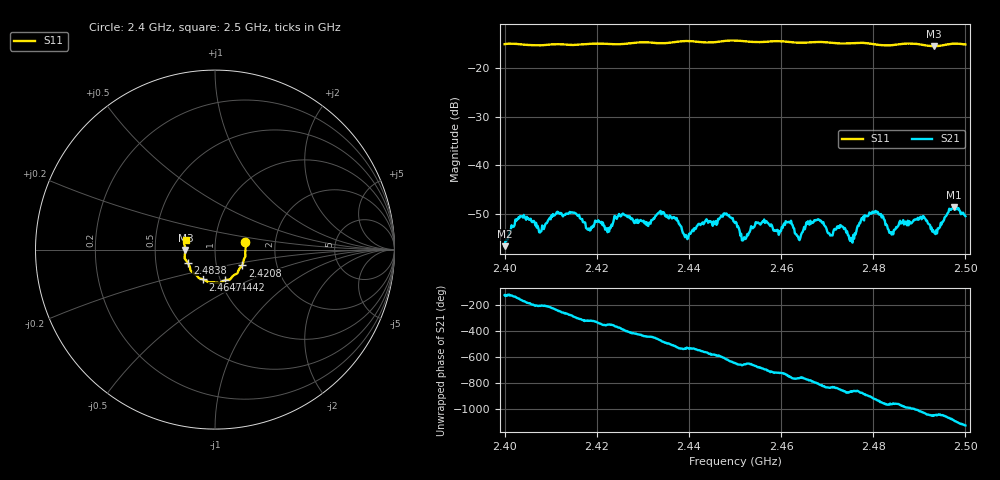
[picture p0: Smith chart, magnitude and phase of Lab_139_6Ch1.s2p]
# Hz S RI R 50
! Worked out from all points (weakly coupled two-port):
!   601 points, 2.4 GHz to 2.5 GHz, reference 50 ohm
!   highest |S21| = -48.49 dB at 2.4975 GHz (marker M1); lowest = -56.5 dB at 2.4 GHz (marker M2)
!   lowest |S11| = -15.6 dB at 2.4932 GHz (marker M3), VSWR 1.40, Z = 35.8 - j0.0975 ohm
!   |S11| at or under -10 dB: start of sweep to end of sweep
!   S12 and S22 are empty: the file has one direction only
!   S11 on the Smith chart (normalised r, x): 2.4 GHz: 1.40, +0.12; 2.4208 GHz: 1.33, -0.24; 2.4442 GHz: 1.05, -0.37; 2.4647 GHz: 0.83, -0.29; 2.4838 GHz: 0.73, -0.11; 2.5 GHz: 0.71, +0.08
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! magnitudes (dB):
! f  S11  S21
! 2.4 GHz  -15.2  -56.5
! 2.4037 GHz  -15.3  -50.4
! 2.408 GHz  -15.5  -53.4
! 2.4117 GHz  -15.2  -49.8
! 2.4167 GHz  -15.3  -50.9
! 2.4208 GHz  -15.1  -51.7
! 2.4333 GHz  -15.0  -49.7
! 2.4393 GHz  -14.6  -54.2
! 2.4442 GHz  -14.9  -51.7
! 2.45 GHz  -14.5  -51.8
! 2.452 GHz  -14.6  -54.6
! 2.4563 GHz  -14.8  -51.0
! 2.4647 GHz  -14.9  -53.6
! 2.4667 GHz  -14.8  -51.6
! 2.4753 GHz  -15.0  -55.4
! 2.4805 GHz  -15.3  -49.3
! 2.4833 GHz  -15.5  -53.1
! 2.4838 GHz  -15.5  -53.7
! 2.4905 GHz  -15.3  -51.0
! 2.4932 GHz  -15.6  -53.6
! 2.4975 GHz  -15.1  -48.5
! 2.5 GHz  -15.3  -50.4
